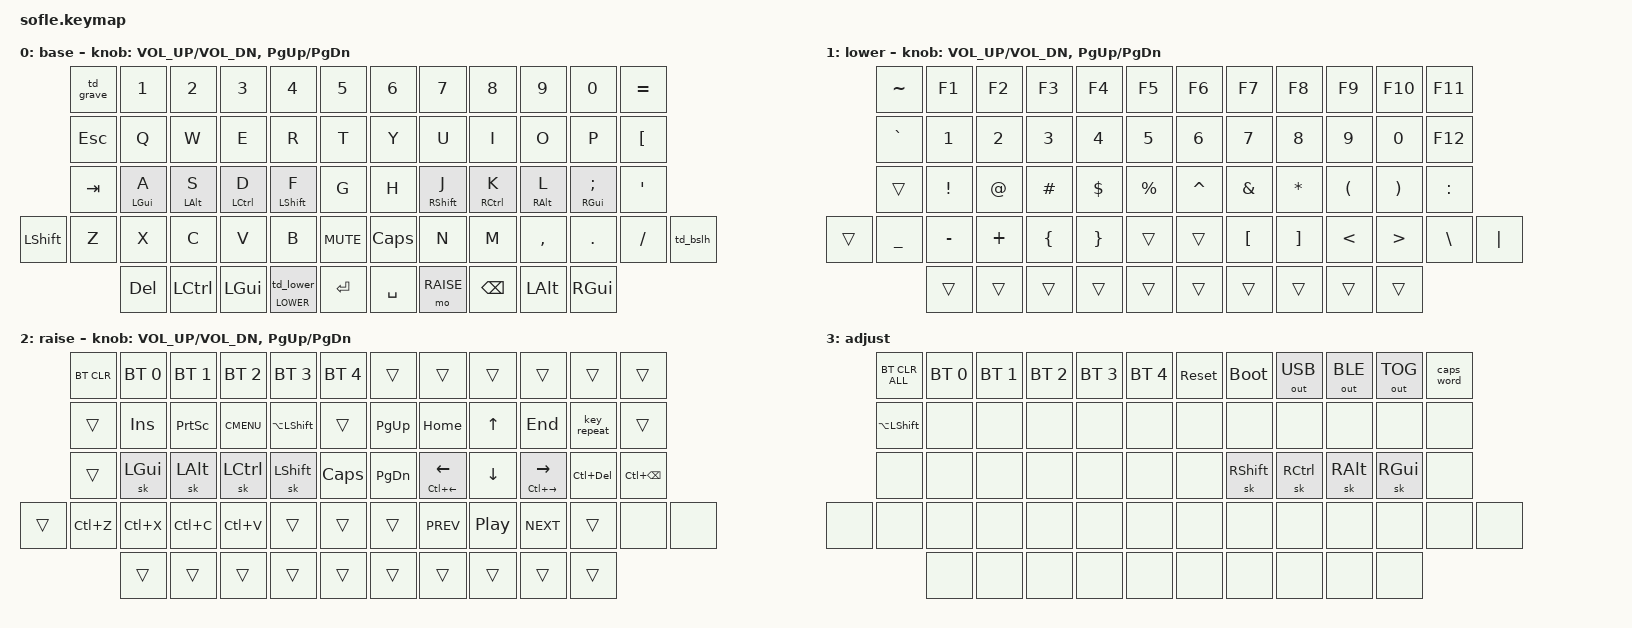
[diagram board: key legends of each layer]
/*
 * Copyright (c) 2020 The ZMK Contributors
 *
 * SPDX-License-Identifier: MIT
 */

#include <behaviors.dtsi>
#include <dt-bindings/zmk/bt.h>
#include <dt-bindings/zmk/keys.h>
#include <dt-bindings/zmk/outputs.h>

#define BASE 0
#define LOWER 1
#define RAISE 2
#define ADJUST 3

/* Matrix-transform positions (see the stock Sofle shield dtsi):
 *   row 0 = 0..11    row 1 = 12..23    row 2 = 24..35
 *   row 3 = 36..49   (42 = left encoder push, 43 = right encoder push)
 *   row 4 = 50..59   (thumbs: 50..54 left, 55..59 right)
 */
#define KEYS_L 0 1 2 3 4 5 12 13 14 15 16 17 24 25 26 27 28 29 36 37 38 39 40 41 42
#define KEYS_R 6 7 8 9 10 11 18 19 20 21 22 23 30 31 32 33 34 35 43 44 45 46 47 48 49
#define THUMBS 50 51 52 53 54 55 56 57 58 59

/ {
    /* ADJUST is the system layer: hold LOWER + RAISE together. */
    conditional_layers {
        compatible = "zmk,conditional-layers";

        adjust_layer {
            if-layers = <LOWER RAISE>;
            then-layer = <ADJUST>;
        };
    };

    behaviors {
        /* Timeless home-row mods in Miryoku/GACS order:
         *   A/S/D/F = GUI/ALT/CTRL/SHIFT,  J/K/L/; = SHIFT/CTRL/ALT/GUI
         *
         * A hold only engages when the next key is on the other hand (or is
         * a thumb key). Fast same-hand rolls therefore stay plain letters,
         * which matters a lot when typing Russian and English prose.
         */
        hml: hm_left {
            compatible = "zmk,behavior-hold-tap";
            #binding-cells = <2>;
            flavor = "balanced";
            tapping-term-ms = <280>;
            quick-tap-ms = <175>;
            require-prior-idle-ms = <150>;
            bindings = <&kp>, <&kp>;
            hold-trigger-key-positions = <KEYS_R THUMBS>;
            hold-trigger-on-release;
        };

        hmr: hm_right {
            compatible = "zmk,behavior-hold-tap";
            #binding-cells = <2>;
            flavor = "balanced";
            tapping-term-ms = <280>;
            quick-tap-ms = <175>;
            require-prior-idle-ms = <150>;
            bindings = <&kp>, <&kp>;
            hold-trigger-key-positions = <KEYS_L THUMBS>;
            hold-trigger-on-release;
        };

        /* Tap-dance reproduces shifted punctuation without a second finger.
         * Only used on deliberately typed keys, so the short decision delay
         * never lands in the middle of fast prose.
         */
        td_grave: td_grave {
            compatible = "zmk,behavior-tap-dance";
            #binding-cells = <0>;
            tapping-term-ms = <180>;
            bindings = <&kp GRAVE>, <&kp TILDE>;
        };

        td_bslh: td_bslh {
            compatible = "zmk,behavior-tap-dance";
            #binding-cells = <0>;
            tapping-term-ms = <180>;
            bindings = <&kp BSLH>, <&kp PIPE>;
        };

        /* LOWER thumb: hold = momentary layer (exactly as before). A quick
         * double-tap makes the layer sticky (&sl) until the next keypress,
         * so a short symbol run does not need the thumb held down
         * (urob-style smart layer). A single stray tap does nothing.
         */
        hlt: layer_tap {
            compatible = "zmk,behavior-hold-tap";
            #binding-cells = <2>;
            flavor = "hold-preferred";
            tapping-term-ms = <200>;
            quick-tap-ms = <175>;
            bindings = <&mo>, <&td_lower>;
        };

        td_lower: td_lower {
            compatible = "zmk,behavior-tap-dance";
            #binding-cells = <0>;
            tapping-term-ms = <200>;
            bindings = <&none>, <&sl LOWER>;
        };

        /* Arrows on RAISE: tap = one cell, hold 200ms = word jump
         * (CTRL+LEFT/RIGHT). tap-preferred so a quick arrow tap never
         * degrades into a word jump no matter what else is pressed around
         * it; the word jump only ever happens when the arrow is held with
         * intent.
         */
        hmarrow: nav_arrow {
            compatible = "zmk,behavior-hold-tap";
            #binding-cells = <2>;
            flavor = "tap-preferred";
            tapping-term-ms = <200>;
            bindings = <&kp>, <&kp>;
        };
    };

    combos {
        compatible = "zmk,combos";

        /* Q + W = Escape, a left-hand alternative for vim/terminal use.
         * "qw" is not a real bigram in English or Russian.
         */
        combo_esc {
            layers = <BASE>;
            timeout-ms = <50>;
            require-prior-idle-ms = <150>;
            key-positions = <13 14>;
            bindings = <&kp ESC>;
        };

        /* B + N = OS layout switch (English/Russian). Both inner keys sit
         * under the index fingers; "bn" and the Russian "ит" are rare enough
         * that the combo will not fire while typing normal text.
         *
         * Alt+Shift is the layout toggle on Win11 by default, and it is the
         * grp:alt_shift_toggle option active in this machine's XKB setup, so
         * the same chord switches layouts on Linux too.
         */
        combo_lang {
            layers = <BASE>;
            timeout-ms = <40>;
            require-prior-idle-ms = <150>;
            key-positions = <41 44>;
            bindings = <&kp LA(LSHFT)>;
        };
    };

    keymap {
        compatible = "zmk,keymap";

        default_layer {
            display-name = "base";

            // ------------------------------------------------------------------------------------------------------------
            // |  ` / ~  |  1  |  2  |  3   |  4   |  5   |                   |  6   |  7    |  8    |  9   |   0   |   =   |
            // |   ESC   |  Q  |  W  |  E   |  R   |  T   |                   |  Y   |  U    |  I    |  O   |   P   |   [   |
            // |   TAB   | G/A | A/S | C/D  | S/F  |  G   |                   |  H   | S/J   | C/K   | A/L   | G/;   |  ' / " |
            // | LSHIFT  |  Z  |  X  |  C   |  V   |  B   | MUTE  |  |  CAPS |  N   |  M    |  ,    |  .   |   /   |  \ / | |
            //                | DEL  |LCTRL | LGUI |LOWER | ENTER |  | SPACE| RAISE |BKSPC |  ALT  |  GUI  |
            //
            // Hold = letter-combo mods (G=GUI, A=ALT, C=CTRL, S=SHIFT left→right);
            // tap = the letter itself. Q+W = ESC, B+N = layout switch.
            // LOWER: hold = layer; double-tap = sticky layer (stays on for
            // the next keypress, so short symbol runs need no held thumb).

            bindings = <&td_grave &kp N1 &kp N2 &kp N3 &kp N4 &kp N5            &kp N6 &kp N7 &kp N8 &kp N9 &kp N0 &kp EQUAL
&kp ESC   &kp Q   &kp W  &kp E  &kp R  &kp T           &kp Y  &kp U  &kp I  &kp O  &kp P  &kp LEFT_BRACKET
&kp TAB   &hml LGUI A &hml LALT S &hml LCTRL D &hml LSHFT F &kp G  &kp H  &hmr RSHFT J &hmr RCTRL K &hmr RALT L &hmr RGUI SEMI &kp SQT
&kp LEFT_SHIFT &kp Z &kp X &kp C &kp V &kp B &kp C_MUTE &kp CAPS &kp N &kp M &kp COMMA &kp DOT &kp FSLH &td_bslh
                          &kp DEL &kp LCTRL &kp LGUI &hlt LOWER 0 &kp RET  &kp SPACE &mo RAISE &kp BACKSPACE &kp LEFT_ALT &kp RGUI
            >;

            // Left encoder is mounted mirrored on the Sofle PCB, so its
            // clockwise direction is the first cell here: CW = volume up.
            sensor-bindings =
                <&inc_dec_kp C_VOLUME_UP C_VOL_DN>,
                <&inc_dec_kp PG_UP PG_DN>;
        };

        lower_layer {
            display-name = "lower";

            // Symbols + function keys. Home-row positions are plain symbols
            // here, so held mods from the base layer do not leak in.
            // ------------------------------------------------------------------------------------------------------------
            // |  ~   |  F1 |  F2 |  F3  |  F4  |  F5  |                   |  F6  |  F7   |  F8   |  F9  |  F10  |  F11  |
            // |   `  |  1  |  2  |  3   |  4   |  5   |                   |  6   |  7    |  8    |  9   |   0   |  F12  |
            // |      |  !  |  @  |  #   |  $   |  %   |                   |  ^   |  &    |  *    |  (   |   )   |   :   |
            // |      |  _  |  -  |  +   |  {   |  }   |        |  |       |  [   |  ]    |  <   |  >   |   \   |   |   |
            //               |     |      |      |      |        |  |       |      |       |       |      |
            //
            // < and > sit on the comma/period keys, exactly where
            // shift+, / shift+. put them on the base layer. ; stays on the
            // base layer; : is here unshifted at the right pinky.

            bindings = <&kp TILDE &kp F1 &kp F2 &kp F3 &kp F4 &kp F5    &kp F6 &kp F7 &kp F8 &kp F9 &kp F10 &kp F11
&kp GRAVE &kp N1 &kp N2 &kp N3 &kp N4 &kp N5    &kp N6 &kp N7 &kp N8 &kp N9 &kp N0 &kp F12
&trans    &kp EXCL &kp AT &kp HASH &kp DLLR &kp PRCNT    &kp CARET &kp AMPS &kp ASTRK &kp LPAR &kp RPAR &kp COLON
&trans    &kp UNDERSCORE &kp MINUS &kp PLUS &kp LBRC &kp RBRC &trans &trans &kp LBKT &kp RBKT &kp LT &kp GT &kp BSLH &kp PIPE
                          &trans &trans &trans &trans &trans  &trans &trans &trans &trans &trans
            >;

            sensor-bindings =
                <&inc_dec_kp C_VOLUME_UP C_VOL_DN>,
                <&inc_dec_kp PG_UP PG_DN>;
        };

        raise_layer {
            display-name = "raise";

            // Navigation + editing on the right hand, one-shot modifiers and
            // the layout switch on the left hand.
            // ------------------------------------------------------------------------------------------------------------
            // | BTCLR | BT1  | BT2  |  BT3  |  BT4  |  BT5 |                |      |      |       |      |       |       |
            // |       | INS  | PSCR | CMENU | LANG |      |                | PGUP | HOME |  UP   | END  | RPT   |       |
            // |       | GUI+ | ALT+ | CTRL+| SHFT+| CAPS |                | PGDN |  <-  |  v    |  ->  | W.DEL | W.BSP |
            // |       | UNDO | CUT  | COPY  | PASTE|      |      |  |      | PREV | PLAY | NEXT  |      | none  | none  |
            //                |      |       |       |      |      |  |      |      |      |       |      |
            //
            // GUI+/ALT+/CTRL+/SHFT+ are sticky keys: tap once, then the next
            // key gets the modifier. They mirror the base home-row mods
            // exactly (A=GUI, S=ALT, D=CTRL, F=SHFT) so muscle memory carries
            // over. Holding them works like a normal mod.
            // Arrows: tap = one cell, hold 200ms = word jump (CTRL+arrows).
            // W.DEL / W.BSP = word-wise deletes (CTRL+DEL / CTRL+BKSPC);
            // UNDO/CUT/COPY/PASTE send CTRL+Z/X/C/V so they actually work on
            // Windows and Linux. RPT repeats the last key.

            bindings = <&bt BT_CLR &bt BT_SEL 0 &bt BT_SEL 1 &bt BT_SEL 2 &bt BT_SEL 3 &bt BT_SEL 4    &trans &trans &trans &trans &trans &trans
&trans    &kp INS &kp PSCRN &kp K_CMENU &kp LA(LSHFT) &trans    &kp PG_UP &kp HOME &kp UP &kp END &key_repeat &trans
&trans    &sk LGUI &sk LALT &sk LCTRL &sk LSHFT &kp CLCK    &kp PG_DN &hmarrow LC(LEFT) LEFT &kp DOWN &hmarrow LC(RIGHT) RIGHT &kp LC(DEL) &kp LC(BSPC)
&trans    &kp LC(Z) &kp LC(X) &kp LC(C) &kp LC(V) &trans &trans &trans &kp C_PREV &kp C_PLAY_PAUSE &kp C_NEXT &trans &none &none
                          &trans &trans &trans &trans &trans  &trans &trans &trans &trans &trans
            >;

            sensor-bindings =
                <&inc_dec_kp C_VOLUME_UP C_VOL_DN>,
                <&inc_dec_kp PG_UP PG_DN>;
        };

        adjust_layer {
            display-name = "adjust";

            // System layer: hold LOWER + RAISE. Bluetooth, output selection,
            // reset/bootloader, caps-word and right-hand sticky modifiers.
            // ------------------------------------------------------------------------------------------------------------
            // | BTCLRALL | BT1    | BT2    |  BT3  |  BT4  |  BT5  |         | RESET | BOOT  | USB   | BLE   | OUT   | CAPSW |
            // |   LANG   |        |        |       |       |       |         |       |       |       |       |       |       |
            // |          |        |        |       |       |       |         |       | SHFT+ | CTRL+ | ALT+  | GUI+  |       |
            // |          |        |        |       |       |       |         |       |       |       |       |       |       |

            bindings = <&bt BT_CLR_ALL &bt BT_SEL 0 &bt BT_SEL 1 &bt BT_SEL 2 &bt BT_SEL 3 &bt BT_SEL 4    &sys_reset &bootloader &out OUT_USB &out OUT_BLE &out OUT_TOG &caps_word
&kp LA(LSHFT) &none &none &none &none &none    &none &none &none &none &none &none
&none         &none &none &none &none &none    &none &sk RSHFT &sk RCTRL &sk RALT &sk RGUI &none
&none         &none &none &none &none &none &none &none &none &none &none &none &none &none
                          &none &none &none &none &none  &none &none &none &none &none
            >;
        };
    };
};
